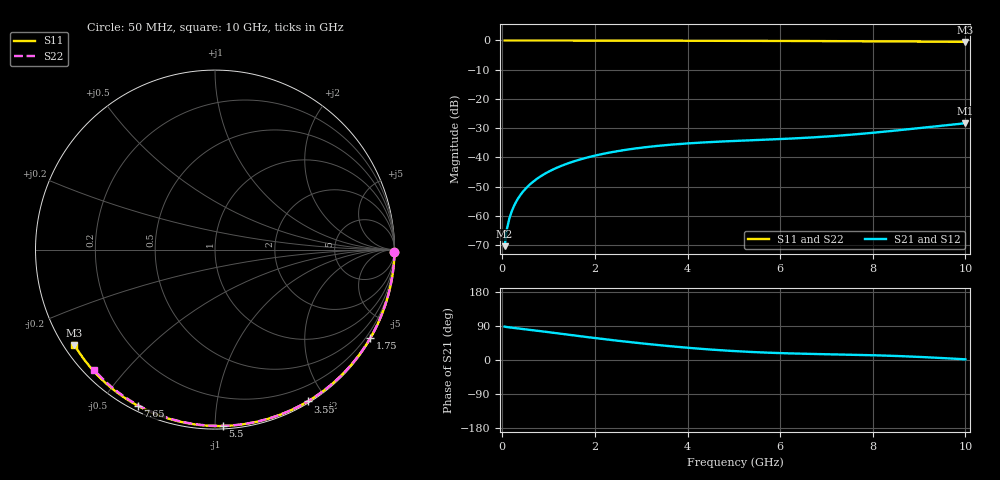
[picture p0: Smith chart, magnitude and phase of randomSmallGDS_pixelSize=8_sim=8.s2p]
! freq	dB(S11)	phase(S11)	dB(S12)	phase(S12)
!  dB(S21)	phase(S21)	dB(S22)	phase(S22)
!S-par simulation data
#  GHz  S  DB  R 50
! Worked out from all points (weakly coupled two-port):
!   200 points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, 50 MHz to 10 GHz, reference 50 ohm
!   highest |S21| = -28.33 dB at 10 GHz (marker M1); lowest = -70.4 dB at 50 MHz (marker M2)
!   lowest |S11| = -0.5 dB at 10 GHz (marker M3), VSWR 36.16, Z = 1.51 - j15.3 ohm
!   |S11| at or under -10 dB: nowhere
!   |S22| runs from -0.4 to 0.0 dB; largest |S21 - S12| = 0
!   S11 on the Smith chart (normalised r, x): 50 MHz: open; 1.75 GHz: 0.03, -3.77; 3.55 GHz: 0.02, -1.78; 5.5 GHz: 0.02, -1.05; 7.65 GHz: 0.02, -0.62; 10 GHz: 0.03, -0.31
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0.05  -0.00 -0.9  -70.39 88.0  -70.39 88.0  -0.00 -0.8
0.1  -0.00 -1.7  -64.50 86.9  -64.50 86.9  -0.00 -1.6
0.15  -0.00 -2.6  -61.07 86.2  -61.07 86.2  -0.00 -2.4
0.2  -0.00 -3.5  -58.62 85.5  -58.62 85.5  -0.00 -3.2
0.25  -0.00 -4.3  -56.72 84.9  -56.72 84.9  -0.00 -4.0
0.35  -0.00 -6.0  -53.84 83.4  -53.84 83.4  -0.00 -5.6
0.5  -0.01 -8.6  -50.78 81.2  -50.78 81.2  -0.01 -8.0
0.7  -0.01 -12.0  -47.91 78.1  -47.91 78.1  -0.01 -11.1
1  -0.02 -17.1  -44.90 73.4  -44.90 73.4  -0.02 -15.8
1.35  -0.03 -23.0  -42.44 67.9  -42.44 67.9  -0.03 -21.3
1.75  -0.04 -29.7  -40.41 61.7  -40.41 61.7  -0.04 -27.4
2.5  -0.05 -42.0  -37.84 50.8  -37.84 50.8  -0.05 -38.8
3.4  -0.08 -56.3  -36.01 39.0  -36.01 39.0  -0.07 -52.1
3.55  -0.08 -58.6  -35.79 37.2  -35.79 37.2  -0.07 -54.2
4.3  -0.10 -70.0  -34.94 29.4  -34.94 29.4  -0.09 -64.8
5.05  -0.12 -81.0  -34.36 23.3  -34.36 23.3  -0.12 -75.1
5.5  -0.14 -87.4  -34.07 20.5  -34.07 20.5  -0.13 -81.1
6.7  -0.20 -103.8  -33.18 16.0  -33.18 16.0  -0.19 -96.4
7.65  -0.26 -116.2  -32.09 13.7  -32.09 13.7  -0.24 -107.9
8.35  -0.31 -125.2  -31.06 11.3  -31.06 11.3  -0.29 -116.2
9.2  -0.39 -135.9  -29.67 7.0  -29.67 7.0  -0.37 -126.1
10  -0.48 -145.9  -28.33 1.7  -28.33 1.7  -0.45 -135.2
